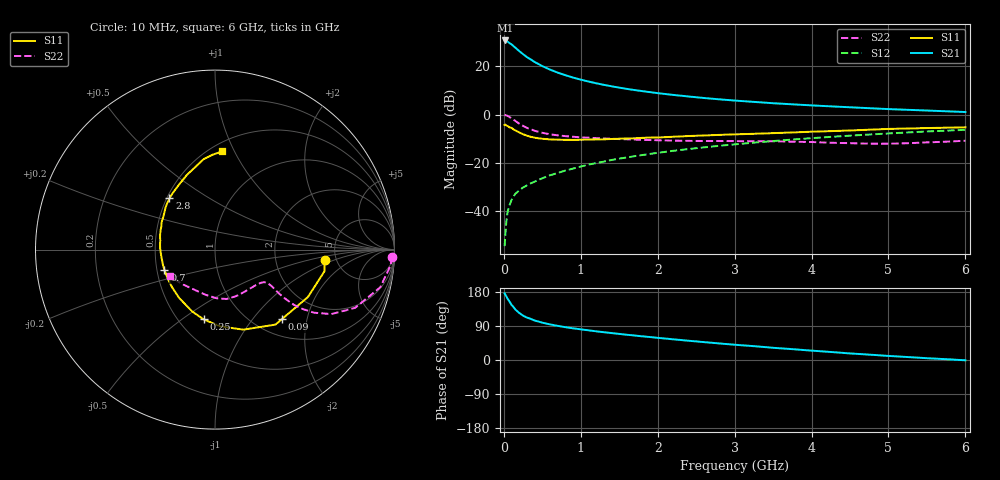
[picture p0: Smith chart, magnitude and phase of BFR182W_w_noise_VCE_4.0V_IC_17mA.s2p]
! Infineon Technologies  Discrete & RF Semiconductors
! BFR182W
! VCE =  4.0 V,  IC =  17 mA
! Common Emitter S-Parameters:  Jan 2017
# GHz  S  MA  R  50
!  f  S11  S21  S12  S22
! GHz  MAG  ANG  MAG  ANG  MAG  ANG  MAG  ANG
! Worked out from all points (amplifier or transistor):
!   77 points, 10 MHz to 6 GHz, reference 50 ohm
!   highest |S21| = 30.7 dB at 20 MHz (marker M1)
!   |S21| within 3 dB of that: start of sweep to 150.1 MHz
!   unconditionally stable (mu >= 1): 863.8 MHz to 2.419 GHz
!   at 130 MHz: K = 0.38, MSG = 31.0 dB, |S12| = -33.7 dB
!   at 2.2 GHz: K = 1.01, MAG = 10.9 dB, |S12| = -15.0 dB
!   at 6 GHz: K = 0.87, MSG = 3.7 dB, |S12| = -6.3 dB
!   lowest NFmin = 1.32 dB at 450 MHz
!   S11 on the Smith chart (normalised r, x): 10 MHz: 4.02, -0.77; 90 MHz: 1.31, -1.43; 250 MHz: 0.66, -0.61; 700 MHz: 0.55, -0.14; 2.8 GHz: 0.52, +0.35; 6 GHz: 0.57, +0.89
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0.01  0.6137 -5.6  34.13 175.8  0.0019 87.1  0.9885 -2.4
0.02  0.6217 -11.2  34.39 172.2  0.0033 89.9  0.9815 -5.3
0.05  0.5814 -27.0  32.49 161.2  0.0099 76.5  0.9448 -12.8
0.09  0.5377 -46.0  29.16 148.9  0.0157 71.9  0.8629 -20.5
0.1  0.5368 -51.1  28.56 145.4  0.0171 71.2  0.8451 -22.6
0.15  0.4734 -70.4  24.36 133.2  0.0231 65.7  0.7408 -29.0
0.2  0.4286 -86.2  20.74 124.2  0.0271 64.5  0.6544 -32.5
0.25  0.3938 -99.3  17.88 117.1  0.0311 62.5  0.5869 -34.2
0.3  0.3673 -110.3  15.56 112.0  0.0345 63.2  0.5337 -35.0
0.4  0.3352 -126.7  12.31 104.1  0.0412 63.7  0.4646 -34.9
0.5  0.3175 -139.4  10.11 98.5  0.0483 64.9  0.4215 -34.2
0.6  0.3079 -149.7  8.581 93.9  0.0557 66.1  0.3935 -33.4
0.7  0.3035 -158.1  7.427 90.1  0.0621 67.8  0.3738 -32.8
0.9  0.3009 -171.1  5.857 83.6  0.0767 68.7  0.3494 -32.6
1.1  0.3053 179.1  4.858 78.3  0.0926 69.0  0.3342 -33.1
1.5  0.3181 163.6  3.63 68.9  0.1232 68.6  0.3125 -36.8
2.1  0.3432 146.5  2.679 56.6  0.1704 65.8  0.2932 -46.7
2.8  0.3819 131.6  2.081 43.7  0.2269 61.1  0.2853 -62.0
3.1  0.3957 125.6  1.913 38.8  0.2513 58.8  0.2833 -68.4
4.1  0.4494 109.2  1.53 23.3  0.3349 50.4  0.2679 -90.2
5.1  0.5116 96.0  1.288 9.6  0.4169 40.9  0.2531 -121.9
6  0.5481 85.9  1.136 -0.7  0.4864 31.8  0.2895 -149.3
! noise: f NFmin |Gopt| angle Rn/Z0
0.45  1.32  0.06  165  0.15
0.9  1.38  0.07  166  0.15
1.9  1.89  0.25  -146  0.15
2.4  2.15  0.25  -131  0.24
